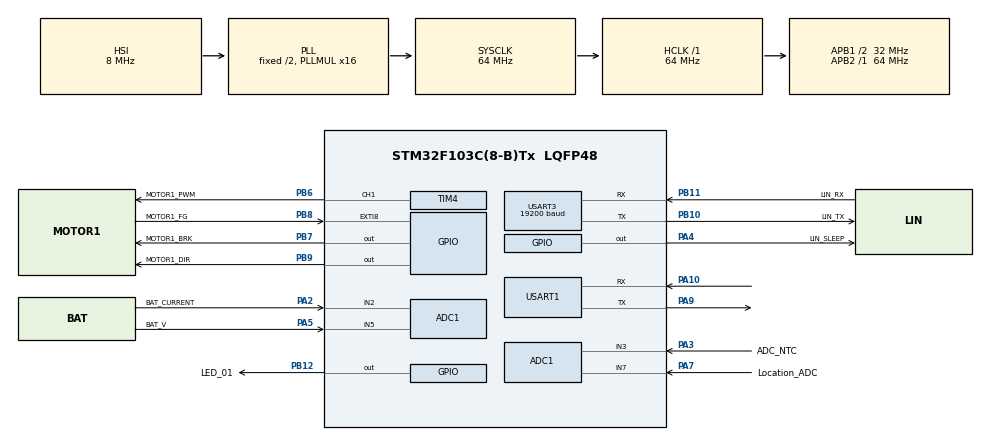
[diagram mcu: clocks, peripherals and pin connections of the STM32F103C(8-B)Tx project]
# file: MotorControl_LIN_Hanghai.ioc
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ADC1.Channel-2\#ChannelRegularConversion=ADC_CHANNEL_2
ADC1.Channel-3\#ChannelRegularConversion=ADC_CHANNEL_3
ADC1.Channel-4\#ChannelRegularConversion=ADC_CHANNEL_5
ADC1.Channel-5\#ChannelRegularConversion=ADC_CHANNEL_7
ADC1.ExternalTrigConv=ADC_EXTERNALTRIGCONV_T3_TRGO
ADC1.NbrOfConversion=4
ADC1.NbrOfConversionFlag=1
ADC1.Rank-2\#ChannelRegularConversion=1
ADC1.Rank-3\#ChannelRegularConversion=2
ADC1.Rank-4\#ChannelRegularConversion=3
ADC1.Rank-5\#ChannelRegularConversion=4
ADC1.SamplingTime-2\#ChannelRegularConversion=ADC_SAMPLETIME_55CYCLES_5
ADC1.SamplingTime-3\#ChannelRegularConversion=ADC_SAMPLETIME_55CYCLES_5
ADC1.SamplingTime-4\#ChannelRegularConversion=ADC_SAMPLETIME_55CYCLES_5
ADC1.SamplingTime-5\#ChannelRegularConversion=ADC_SAMPLETIME_55CYCLES_5
ADC1.master=1
Dma.ADC1.0.Direction=DMA_PERIPH_TO_MEMORY
Dma.ADC1.0.Instance=DMA1_Channel1
Dma.ADC1.0.MemDataAlignment=DMA_MDATAALIGN_HALFWORD
Dma.ADC1.0.MemInc=DMA_MINC_ENABLE
Dma.ADC1.0.Mode=DMA_CIRCULAR
Dma.ADC1.0.PeriphDataAlignment=DMA_PDATAALIGN_HALFWORD
Dma.ADC1.0.PeriphInc=DMA_PINC_DISABLE
Dma.ADC1.0.Priority=DMA_PRIORITY_LOW
Dma.Request0=ADC1
Dma.Request1=USART1_RX
Dma.USART1_RX.1.Direction=DMA_PERIPH_TO_MEMORY
Dma.USART1_RX.1.Instance=DMA1_Channel5
Dma.USART1_RX.1.MemDataAlignment=DMA_MDATAALIGN_BYTE
Dma.USART1_RX.1.MemInc=DMA_MINC_ENABLE
Dma.USART1_RX.1.Mode=DMA_CIRCULAR
Dma.USART1_RX.1.PeriphDataAlignment=DMA_PDATAALIGN_BYTE
Dma.USART1_RX.1.PeriphInc=DMA_PINC_DISABLE
Dma.USART1_RX.1.Priority=DMA_PRIORITY_LOW
Mcu.Family=STM32F1
Mcu.Name=STM32F103C(8-B)Tx
Mcu.Package=LQFP48
NVIC.ADC1_2_IRQn=true\:4\:0\:true\:false\:true\:true\:true\:true
NVIC.DMA1_Channel1_IRQn=true\:0\:0\:true\:false\:true\:false\:true\:true
NVIC.DMA1_Channel5_IRQn=true\:3\:0\:true\:false\:true\:false\:true\:true
NVIC.EXTI9_5_IRQn=true\:0\:0\:true\:false\:true\:true\:true\:true
NVIC.PriorityGroup=NVIC_PRIORITYGROUP_4
NVIC.TIM3_IRQn=true\:5\:0\:true\:false\:true\:true\:true\:true
NVIC.USART1_IRQn=true\:3\:0\:true\:false\:true\:true\:true\:true
NVIC.USART3_IRQn=true\:3\:0\:true\:false\:true\:true\:true\:true
PA10.GPIO_PuPd=GPIO_PULLUP
PA10.Mode=Asynchronous
PA10.Signal=USART1_RX
PA13.Mode=Serial_Wire
PA13.Signal=SYS_JTMS-SWDIO
PA14.Mode=Serial_Wire
PA14.Signal=SYS_JTCK-SWCLK
PA2.GPIO_Label=BAT_CURRENT
PA2.Signal=ADCx_IN2
PA3.GPIO_Label=ADC_NTC
PA3.Signal=ADCx_IN3
PA4.GPIO_Label=LIN_SLEEP
PA4.Signal=GPIO_Output
PA5.GPIO_Label=BAT_V
PA5.Signal=ADCx_IN5
PA7.GPIO_Label=Location_ADC
PA7.Signal=ADCx_IN7
PA9.GPIO_Mode=GPIO_MODE_AF_PP
PA9.Mode=Asynchronous
PA9.Signal=USART1_TX
PB10.GPIO_Label=LIN_TX
PB10.Mode=LIN
PB10.Signal=USART3_TX
PB11.GPIO_Label=LIN_RX
PB11.GPIO_PuPd=GPIO_PULLUP
PB11.Mode=LIN
PB11.Signal=USART3_RX
PB12.GPIO_Label=LED_01
PB12.Signal=GPIO_Output
PB6.GPIO_Label=MOTOR1_PWM
PB6.Signal=S_TIM4_CH1
PB7.GPIO_Label=MOTOR1_BRK
PB7.Signal=GPIO_Output
PB8.GPIO_Label=MOTOR1_FG
PB8.GPIO_PuPd=GPIO_PULLDOWN
PB8.Signal=GPXTI8
PB9.GPIO_Label=MOTOR1_DIR
PB9.Signal=GPIO_Output
ProjectManager.HeapSize=0x200
ProjectManager.StackSize=0x400
ProjectManager.TargetToolchain=CMake
RCC.ADCPresc=RCC_ADCPCLK2_DIV6
RCC.AHBFreq_Value=64000000
RCC.APB1CLKDivider=RCC_HCLK_DIV2
RCC.APB1Freq_Value=32000000
RCC.APB1TimFreq_Value=64000000
RCC.APB2Freq_Value=64000000
RCC.APB2TimFreq_Value=64000000
RCC.HCLKFreq_Value=64000000
RCC.PLLMUL=RCC_PLL_MUL16
RCC.SYSCLKFreq_VALUE=64000000
RCC.SYSCLKSource=RCC_SYSCLKSOURCE_PLLCLK
RCC.USBFreq_Value=64000000
SH.ADCx_IN2.0=ADC1_IN2,IN2
SH.ADCx_IN3.0=ADC1_IN3,IN3
SH.ADCx_IN5.0=ADC1_IN5,IN5
SH.ADCx_IN7.0=ADC1_IN7,IN7
SH.S_TIM4_CH1.0=TIM4_CH1,PWM Generation1 CH1
TIM3.Period=100-1
TIM3.Prescaler=64-1
TIM3.TIM_MasterOutputTrigger=TIM_TRGO_UPDATE
TIM4.Channel-PWM\ Generation1\ CH1=TIM_CHANNEL_1
TIM4.Period=1000-1
TIM4.Prescaler=64-1
USART1.VirtualMode=VM_ASYNC
USART3.BaudRate=19200
USART3.VirtualMode=VM_ASYNC
VP_TIM3_VS_ClockSourceINT.Mode=Internal
board=custom

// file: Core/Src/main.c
/* USER CODE BEGIN Header */
/**
  ******************************************************************************
  * @file           : main.c
  * @brief          : Main program body
  ******************************************************************************
  * @attention
  *
  * Copyright (c) 2025 STMicroelectronics.
  * All rights reserved.
  *
  * This software is licensed under terms that can be found in the LICENSE file
  * in the root directory of this software component.
  * If no LICENSE file comes with this software, it is provided AS-IS.
  *
  ******************************************************************************
  */
/* USER CODE END Header */
#include "main.h"
#include "adc.h"
#include "dma.h"
#include "tim.h"
#include "usart.h"
#include "gpio.h"

/* USER CODE BEGIN Includes */
#include "at_command.h"
#include "log.h"
#include "app_lin.h"
#include "app_main.h"
#include "app_motor.h"
#include "app_adc.h"
#include "bsp_bldc.h"  // for interrupt
#include "app_linkage.h"
/* USER CODE END Includes */

void SystemClock_Config(void);

int main(void)
{

  /* MCU Configuration--------------------------------------------------------*/

  /* Reset of all peripherals, Initializes the Flash interface and the Systick. */
  HAL_Init();

  /* Configure the system clock */
  SystemClock_Config();

  /* Initialize all configured peripherals */
  MX_GPIO_Init();
  MX_DMA_Init();
  MX_TIM4_Init();
  MX_USART3_UART_Init();
  MX_USART1_UART_Init();
  MX_ADC1_Init();
  MX_TIM3_Init();
  /* USER CODE BEGIN 2 */

  // 1. 启动基础定时中断 (10kHz心跳/采样触发)
  HAL_TIM_Base_Start_IT(&htim3);

  // 2. 初始化应用层 (电机/ADC/串口)
  App_Init();
  App_LIN_Init();

  // 3. 配置电机参数
  // 电机0: 最后2500脉冲开始减速, 最低速度PWM=100
  App_Motor_ConfigDecel(0, 2500, 100);

  // 电机0: 配置硬件限位开关 (PA0=CW限位, PA1=CCW限位, 低电平触发)
  //App_Motor_ConfigLimit(0, GPIOA, GPIO_PIN_0, GPIOA, GPIO_PIN_1, GPIO_PIN_RESET);

  // 4. 配置ADC安全保护阈值
  // 全局: 欠压9V, 过压28V, 过温85度
  App_Adc_ConfigProtect_Global(9.0f, 28.0f, 85.0f);

  // 电机0: 过流阈值 5.0A
  App_Adc_ConfigProtect_Motor(0, 5.0f);

  /* USER CODE END 2 */

  /* Infinite loop */
  while (1)
  {

    /* USER CODE BEGIN 3 */
	 App_Loop();

  }
  /* USER CODE END 3 */
}

void SystemClock_Config(void)
{
  RCC_OscInitTypeDef RCC_OscInitStruct = {0};
  RCC_ClkInitTypeDef RCC_ClkInitStruct = {0};
  RCC_PeriphCLKInitTypeDef PeriphClkInit = {0};

  /** Initializes the RCC Oscillators according to the specified parameters
  * in the RCC_OscInitTypeDef structure.
  */
  RCC_OscInitStruct.OscillatorType = RCC_OSCILLATORTYPE_HSI;
  RCC_OscInitStruct.HSIState = RCC_HSI_ON;
  RCC_OscInitStruct.HSICalibrationValue = RCC_HSICALIBRATION_DEFAULT;
  RCC_OscInitStruct.PLL.PLLState = RCC_PLL_ON;
  RCC_OscInitStruct.PLL.PLLSource = RCC_PLLSOURCE_HSI_DIV2;
  RCC_OscInitStruct.PLL.PLLMUL = RCC_PLL_MUL16;
  if (HAL_RCC_OscConfig(&RCC_OscInitStruct) != HAL_OK)
  {
    Error_Handler();
  }

  /** Initializes the CPU, AHB and APB buses clocks
  */
  RCC_ClkInitStruct.ClockType = RCC_CLOCKTYPE_HCLK|RCC_CLOCKTYPE_SYSCLK
                              |RCC_CLOCKTYPE_PCLK1|RCC_CLOCKTYPE_PCLK2;
  RCC_ClkInitStruct.SYSCLKSource = RCC_SYSCLKSOURCE_PLLCLK;
  RCC_ClkInitStruct.AHBCLKDivider = RCC_SYSCLK_DIV1;
  RCC_ClkInitStruct.APB1CLKDivider = RCC_HCLK_DIV2;
  RCC_ClkInitStruct.APB2CLKDivider = RCC_HCLK_DIV1;

  if (HAL_RCC_ClockConfig(&RCC_ClkInitStruct, FLASH_LATENCY_2) != HAL_OK)
  {
    Error_Handler();
  }
  PeriphClkInit.PeriphClockSelection = RCC_PERIPHCLK_ADC;
  PeriphClkInit.AdcClockSelection = RCC_ADCPCLK2_DIV6;
  if (HAL_RCCEx_PeriphCLKConfig(&PeriphClkInit) != HAL_OK)
  {
    Error_Handler();
  }
}

/* USER CODE BEGIN 4 */
// GPIO EXTI �жϻص� (���� PB8 FG �ź�)
void HAL_GPIO_EXTI_Callback(uint16_t GPIO_Pin)
{
    // 外部中断读取脉冲数
    BSP_BLDC_OnFG_Interrupt(GPIO_Pin);
}

/* USER CODE END 4 */

void Error_Handler(void)
{
  __disable_irq();
  while (1)
  {
  }
}
